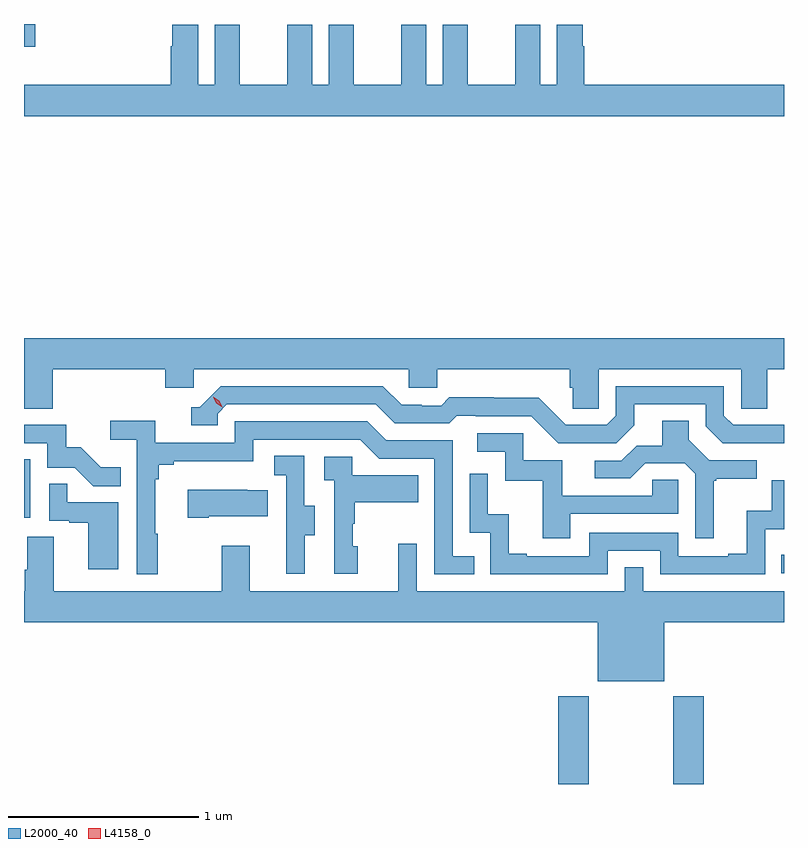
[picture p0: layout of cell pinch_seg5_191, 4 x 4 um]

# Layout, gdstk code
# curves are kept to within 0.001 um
import gdstk
lib = gdstk.Library(unit=1e-6, precision=1e-09)
def R(c, l, rs):  # rectangles x0, y0, x1, y1
    for r in rs: c.add(gdstk.rectangle(r[:2], r[2:], *l))
def P(c, l, *ps):  # polygons
    for p in ps: c.add(gdstk.Polygon(p, *l))
L2000_40 = (2000, 40)
L4158_0 = (4158, 0)

pinch_seg5_191 = lib.new_cell('pinch_seg5_191')
R(pinch_seg5_191, L2000_40, [(989.219,903.861,989.379,904.324), (989.824,903.861,989.984,904.324), (990.391,904.971,990.406,905.068), (986.406,905.262,986.44,905.569), (986.406,907.74,986.465,907.861)])
P(pinch_seg5_191, L2000_40, [(990.406,907.54),(989.354,907.54),(989.354,907.745),(989.347,907.745),(989.347,907.858),(989.21,907.858),(989.21,907.54),(989.122,907.54),(989.122,907.858),(988.991,907.858),(988.991,907.54),(988.741,907.54),(988.741,907.858),(988.61,907.858),(988.61,907.54),(988.522,907.54),(988.522,907.858),(988.391,907.858),(988.391,907.54),(988.141,907.54),(988.141,907.858),(988.01,907.858),(988.01,907.54),(987.922,907.54),(987.922,907.858),(987.791,907.858),(987.791,907.54),(987.541,907.54),(987.541,907.858),(987.41,907.858),(987.41,907.54),(987.322,907.54),(987.322,907.858),(987.185,907.858),(987.185,907.745),(987.179,907.745),(987.179,907.54),(986.406,907.54),(986.406,907.376),(990.406,907.376)],
  [(986.558,906.044),(987.149,906.044),(987.149,905.946),(987.3,905.946),(987.3,906.044),(988.431,906.044),(988.431,905.946),(988.581,905.946),(988.581,906.044),(989.279,906.044),(989.279,905.946),(989.293,905.946),(989.293,905.836),(989.43,905.836),(989.43,906.044),(990.18,906.044),(990.18,905.836),(990.319,905.836),(990.319,906.044),(990.406,906.044),(990.406,906.208),(986.406,906.208),(986.406,905.836),(986.558,905.836)],
  [(990.406,905.751),(990.138,905.751),(990.09,905.799),(990.09,905.955),(989.52,905.955),(989.52,905.799),(989.472,905.751),(989.256,905.751),(989.114,905.893),(988.878,905.893),(988.878,905.896),(988.645,905.896),(988.603,905.853),(988.5,905.853),(988.5,905.856),(988.393,905.856),(988.294,905.955),(987.441,905.955),(987.33,905.844),(987.287,905.844),(987.287,905.748),(987.426,905.748),(987.426,905.811),(987.474,905.859),(988.257,905.859),(988.356,905.76),(988.645,905.76),(988.684,905.799),(988.783,905.799),(988.783,905.796),(989.076,905.796),(989.217,905.655),(989.523,905.655),(989.617,905.749),(989.617,905.859),(989.994,905.859),(989.994,905.745),(990.084,905.655),(990.406,905.654)],
  [(990.037,905.457),(990.049,905.457),(990.049,905.468),(990.262,905.468),(990.262,905.565),(990.012,905.565),(989.905,905.672),(989.905,905.774),(989.765,905.774),(989.765,905.642),(989.63,905.642),(989.55,905.562),(989.409,905.562),(989.409,905.469),(989.596,905.469),(989.677,905.55),(989.883,905.55),(989.94,905.493),(989.94,905.154),(990.037,905.154)],
  [(987.109,905.177),(987.097,905.177),(987.097,905.465),(987.116,905.465),(987.116,905.542),(987.193,905.542),(987.193,905.561),(987.612,905.561),(987.612,905.673),(988.176,905.673),(988.275,905.574),(988.566,905.574),(988.566,904.965),(988.775,904.965),(988.775,905.061),(988.662,905.061),(988.662,905.67),(988.312,905.67),(988.213,905.769),(987.516,905.769),(987.516,905.658),(987.098,905.658),(987.098,905.774),(986.859,905.774),(986.859,905.672),(987,905.672),(987,904.965),(987.109,904.965)],
  [(986.915,905.527),(986.811,905.527),(986.704,905.634),(986.628,905.634),(986.628,905.751),(986.406,905.751),(986.406,905.655),(986.529,905.655),(986.529,905.526),(986.673,905.526),(986.771,905.428),(986.915,905.428)],
  [(989.281,905.283),(989.85,905.283),(989.85,905.463),(989.713,905.463),(989.713,905.379),(989.239,905.379),(989.239,905.565),(989.034,905.565),(989.034,905.706),(988.791,905.706),(988.791,905.61),(988.938,905.61),(988.938,905.457),(989.137,905.457),(989.137,905.154),(989.281,905.154)],
  [(987.883,905.17),(987.937,905.17),(987.937,905.325),(987.882,905.325),(987.882,905.588),(987.723,905.588),(987.723,905.485),(987.786,905.485),(987.786,905.181),(987.785,905.181),(987.785,904.968),(987.883,904.968)],
  [(988.162,905.112),(988.137,905.112),(988.137,905.231),(988.147,905.231),(988.147,905.345),(988.481,905.345),(988.481,905.485),(988.134,905.485),(988.134,905.583),(987.987,905.583),(987.987,905.459),(988.038,905.459),(988.038,904.968),(988.162,904.968)],
  [(989.478,905.088),(989.754,905.088),(989.754,904.965),(990.306,904.965),(990.306,905.201),(990.406,905.201),(990.406,905.46),(990.342,905.46),(990.342,905.299),(990.209,905.299),(990.209,905.074),(990.113,905.074),(990.113,905.061),(989.85,905.061),(989.85,905.184),(989.382,905.184),(989.382,905.061),(989.053,905.061),(989.053,905.074),(988.958,905.074),(988.958,905.282),(988.848,905.282),(988.848,905.494),(988.752,905.494),(988.752,905.184),(988.86,905.184),(988.86,904.965),(989.478,904.965)],
  [(986.902,905.343),(986.633,905.343),(986.633,905.441),(986.538,905.441),(986.538,905.247),(986.645,905.247),(986.645,905.235),(986.744,905.235),(986.744,904.992),(986.902,904.992)],
  [(987.379,905.27),(987.689,905.27),(987.689,905.407),(987.581,905.407),(987.581,905.41),(987.267,905.41),(987.267,905.263),(987.379,905.263)],
  [(989.776,904.712),(990.406,904.712),(990.406,904.876),(989.664,904.876),(989.664,905.003),(989.568,905.003),(989.568,904.876),(988.473,904.876),(988.473,905.125),(988.376,905.125),(988.376,904.876),(987.595,904.876),(987.595,905.116),(987.448,905.116),(987.448,904.876),(986.563,904.876),(986.563,905.162),(986.423,905.162),(986.423,904.988),(986.411,904.988),(986.411,904.876),(986.406,904.876),(986.406,904.712),(989.426,904.712),(989.426,904.403),(989.776,904.403)])
P(pinch_seg5_191, L4158_0, [(987.449,905.844),(987.419,905.864),(987.403,905.897),(987.403,905.898),(987.403,905.898),(987.434,905.878),(987.45,905.844),(987.45,905.844)])

lib.write_gds('pinch_seg5_191.gds')
